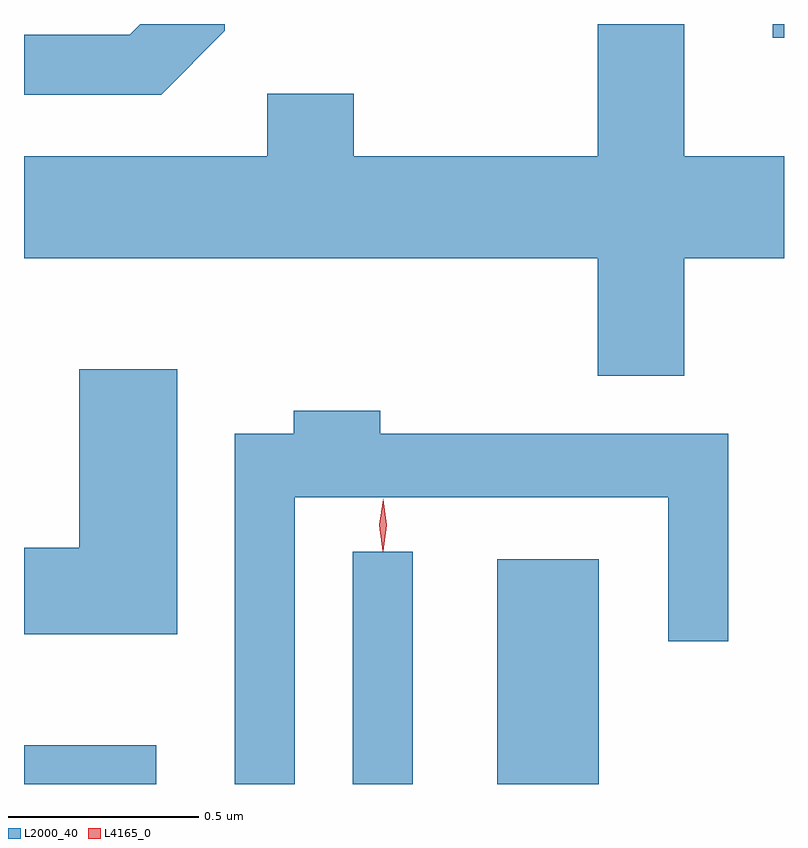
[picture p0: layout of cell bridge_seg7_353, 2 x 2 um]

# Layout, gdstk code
import gdstk
lib = gdstk.Library(unit=1e-6, precision=1e-09)
def R(c, l, rs):  # rectangles x0, y0, x1, y1
    for r in rs: c.add(gdstk.rectangle(r[:2], r[2:], *l))
def P(c, l, *ps):  # polygons
    for p in ps: c.add(gdstk.Polygon(p, *l))
L2000_40 = (2000, 40)
L4165_0 = (4165, 0)

bridge_seg7_353 = lib.new_cell('bridge_seg7_353')
R(bridge_seg7_353, L2000_40, [(1202.651,1768.432,1202.999,1768.534), (1203.516,1768.432,1203.674,1769.043), (1203.896,1768.432,1204.164,1769.024), (1204.621,1770.396,1204.651,1770.432)])
P(bridge_seg7_353, L2000_40, [(1203.179,1770.414),(1203.179,1770.432),(1202.957,1770.432),(1202.929,1770.404),(1202.651,1770.404),(1202.651,1770.246),(1203.012,1770.246)],
  [(1204.389,1769.816),(1204.651,1769.816),(1204.651,1770.084),(1204.389,1770.084),(1204.389,1770.432),(1204.161,1770.432),(1204.161,1770.084),(1203.519,1770.084),(1203.519,1770.249),(1203.291,1770.249),(1203.291,1770.084),(1202.651,1770.084),(1202.651,1769.816),(1204.161,1769.816),(1204.161,1769.506),(1204.389,1769.506)],
  [(1203.054,1769.524),(1202.796,1769.524),(1202.796,1769.054),(1202.651,1769.054),(1202.651,1768.826),(1203.054,1768.826)],
  [(1203.364,1769.186),(1204.346,1769.186),(1204.346,1768.808),(1204.504,1768.808),(1204.504,1769.354),(1203.589,1769.354),(1203.589,1769.414),(1203.361,1769.414),(1203.361,1769.354),(1203.206,1769.354),(1203.206,1768.432),(1203.364,1768.432)])
P(bridge_seg7_353, L4165_0, [(1203.595,1769.044),(1203.595,1769.044),(1203.586,1769.113),(1203.596,1769.182),(1203.596,1769.183),(1203.596,1769.182),(1203.606,1769.113),(1203.596,1769.044)],
  [(1203.596,1769.047),(1203.596,1769.048),(1203.586,1769.114),(1203.596,1769.18),(1203.596,1769.181),(1203.597,1769.18),(1203.606,1769.114),(1203.597,1769.048)])

lib.write_gds('bridge_seg7_353.gds')
